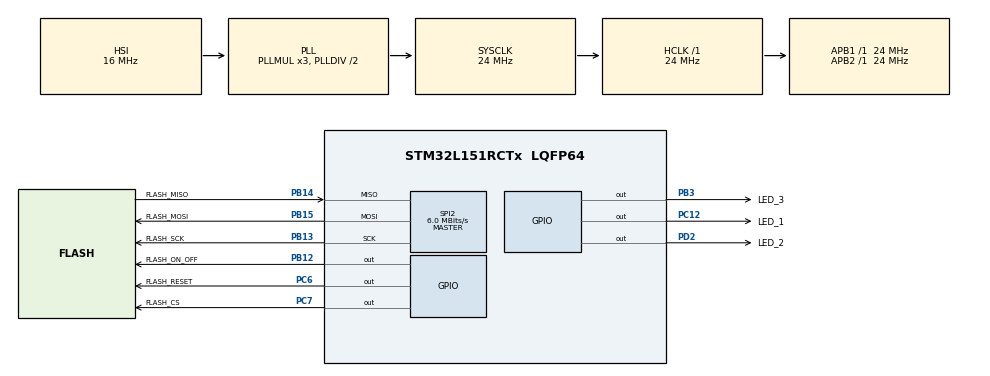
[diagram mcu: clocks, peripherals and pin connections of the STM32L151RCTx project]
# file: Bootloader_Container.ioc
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Mcu.Family=STM32L1
Mcu.Name=STM32L151RCTx
Mcu.Package=LQFP64
NVIC.PriorityGroup=NVIC_PRIORITYGROUP_4
PA13.Mode=Serial_Wire
PA13.Signal=SYS_JTMS-SWDIO
PA14.Mode=Serial_Wire
PA14.Signal=SYS_JTCK-SWCLK
PB12.GPIO_Label=FLASH_ON_OFF
PB12.GPIO_PuPd=GPIO_NOPULL
PB12.Signal=GPIO_Output
PB13.GPIO_Label=FLASH_SCK
PB13.Mode=Full_Duplex_Master
PB13.Signal=SPI2_SCK
PB14.GPIO_Label=FLASH_MISO
PB14.Mode=Full_Duplex_Master
PB14.Signal=SPI2_MISO
PB15.GPIO_Label=FLASH_MOSI
PB15.Mode=Full_Duplex_Master
PB15.Signal=SPI2_MOSI
PB3.GPIO_Label=LED_3
PB3.GPIO_PuPd=GPIO_PULLDOWN
PB3.Signal=GPIO_Output
PC12.GPIO_Label=LED_1
PC12.GPIO_PuPd=GPIO_PULLDOWN
PC12.Signal=GPIO_Output
PC6.GPIO_Label=FLASH_RESET
PC6.GPIO_PuPd=GPIO_PULLUP
PC6.GPIO_Speed=GPIO_SPEED_FREQ_MEDIUM
PC6.PinState=GPIO_PIN_SET
PC6.Signal=GPIO_Output
PC7.GPIO_Label=FLASH_CS
PC7.GPIO_PuPd=GPIO_PULLDOWN
PC7.Signal=GPIO_Output
PD2.GPIO_Label=LED_2
PD2.GPIO_PuPd=GPIO_PULLDOWN
PD2.Signal=GPIO_Output
ProjectManager.HeapSize=0x200
ProjectManager.StackSize=0x400
ProjectManager.TargetToolchain=EWARM V8.32
RCC.AHBFreq_Value=24000000
RCC.APB1Freq_Value=24000000
RCC.APB1TimFreq_Value=24000000
RCC.APB2Freq_Value=24000000
RCC.APB2TimFreq_Value=24000000
RCC.HCLKFreq_Value=24000000
RCC.HSE_VALUE=24000000
RCC.HSI_VALUE=16000000
RCC.LSE_VALUE=32768
RCC.MSI_VALUE=2097000
RCC.SYSCLKFreq_VALUE=24000000
RCC.SYSCLKSource=RCC_SYSCLKSOURCE_PLLCLK
RCC.VCOOutputFreq_Value=48000000
SPI2.BaudRatePrescaler=SPI_BAUDRATEPRESCALER_4
SPI2.CalculateBaudRate=6.0 MBits/s
SPI2.Direction=SPI_DIRECTION_2LINES
SPI2.Mode=SPI_MODE_MASTER
SPI2.VirtualType=VM_MASTER
board=custom

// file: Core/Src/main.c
/* USER CODE BEGIN Header */
/**
  ******************************************************************************
  * @file           : main.c
  * @brief          : Main program body
  ******************************************************************************
  * @attention
  *
  * Copyright (c) 2023 STMicroelectronics.
  * All rights reserved.
  *
  * This software is licensed under terms that can be found in the LICENSE file
  * in the root directory of this software component.
  * If no LICENSE file comes with this software, it is provided AS-IS.
  *
  ******************************************************************************
  */
/* USER CODE END Header */
#include "main.h"

/* USER CODE BEGIN Includes */
#include "user_exflash.h"
#include "user_inflash.h"
#include "user_bootloader.h"
/* USER CODE END Includes */

SPI_HandleTypeDef hspi2;

void SystemClock_Config(void);
static void MX_GPIO_Init(void);
static void MX_SPI2_Init(void);

/* USER CODE BEGIN 0 */
uint8_t aRead_ExFlash[7];
uint32_t Size_File=0;
uint16_t Length_Get=0;
uint32_t Gettick_Ms=0;
uint8_t Load_Firmware = 0;
uint32_t Addr_Firm_InFlash = FLASH_ADDR_MAIN;
uint32_t Addr_Firm_ExFlash = FLASH_ADDR_FIRMWARE;
/* USER CODE END 0 */

int main(void)
{

  /* MCU Configuration--------------------------------------------------------*/

  /* Reset of all peripherals, Initializes the Flash interface and the Systick. */
  HAL_Init();

  /* Configure the system clock */
  SystemClock_Config();

  /* Initialize all configured peripherals */
  MX_GPIO_Init();
  MX_SPI2_Init();
  /* USER CODE BEGIN 2 */
  HAL_GPIO_WritePin(GPIOD, GPIO_PIN_2, GPIO_PIN_SET);
  HAL_GPIO_WritePin(GPIOB, GPIO_PIN_12, GPIO_PIN_RESET);
  HAL_Delay(10);
  eFlash_S25FL_BufferRead(aRead_ExFlash, FLASH_ADDR_UPDATE, 7);
  HAL_Delay(10);

  HAL_Delay(5);
  if(aRead_ExFlash[0]==0xAA)
  {
    uint8_t TempCrc=0;
    for(uint8_t i=0; i < 6; i++)
    {
        TempCrc ^= aRead_ExFlash[i];
    }
    if(TempCrc == aRead_ExFlash[6])
    {
        Size_File = aRead_ExFlash[2]<<24 | aRead_ExFlash[3]<<16
                  | aRead_ExFlash[4]<<8  | aRead_ExFlash[5];
        Load_Firmware = 1;
    }
  }

  if(Load_Firmware == 1)
  {
    uint8_t aRead_Firm[256];
    while(Size_File>0)
    {
        if(Size_File >= 256)
        {
            Length_Get = 256;
            Size_File -= 256;
        }
        else if( Size_File > 0 && Size_File < 256)
        {
            Length_Get = Size_File;
            Size_File = 0;
            for(uint16_t i=0; i<256;i++)
            {
                aRead_Firm[i] = 0x00;
            }
        }
        else
        {
            break;
        }

        eFlash_S25FL_BufferRead(aRead_Firm, Addr_Firm_ExFlash, Length_Get);
        HAL_Delay(5);
        OnchipFlashPageErase(Addr_Firm_InFlash);
        HAL_Delay(5);
        OnchipFlashWriteData(Addr_Firm_InFlash, aRead_Firm, 256);
        HAL_Delay(5);
        Addr_Firm_ExFlash += 256;
        Addr_Firm_InFlash += 256;
    }
  }
  eFlash_S25FL_Erase_Sector(FLASH_ADDR_UPDATE);
  HAL_Delay(5);
  Bootloader_Jump_Firmware(FLASH_ADDR_MAIN);

  /* USER CODE END 2 */

  /* Infinite loop */
  while (1)
  {

    /* USER CODE BEGIN 3 */

    Gettick_Ms = HAL_GetTick();

//    if(HAL_GetTick() - Gettick_Ms > 1000)
//    {
//        Bootloader_Jump_Firmware(FLASH_ADDR_MAIN);
//    }
  }
  /* USER CODE END 3 */
}

void SystemClock_Config(void)
{
  RCC_OscInitTypeDef RCC_OscInitStruct = {0};
  RCC_ClkInitTypeDef RCC_ClkInitStruct = {0};

  /** Configure the main internal regulator output voltage
  */
  __HAL_PWR_VOLTAGESCALING_CONFIG(PWR_REGULATOR_VOLTAGE_SCALE1);

  /** Initializes the RCC Oscillators according to the specified parameters
  * in the RCC_OscInitTypeDef structure.
  */
  RCC_OscInitStruct.OscillatorType = RCC_OSCILLATORTYPE_HSI;
  RCC_OscInitStruct.HSIState = RCC_HSI_ON;
  RCC_OscInitStruct.HSICalibrationValue = RCC_HSICALIBRATION_DEFAULT;
  RCC_OscInitStruct.PLL.PLLState = RCC_PLL_ON;
  RCC_OscInitStruct.PLL.PLLSource = RCC_PLLSOURCE_HSI;
  RCC_OscInitStruct.PLL.PLLMUL = RCC_PLL_MUL3;
  RCC_OscInitStruct.PLL.PLLDIV = RCC_PLL_DIV2;
  if (HAL_RCC_OscConfig(&RCC_OscInitStruct) != HAL_OK)
  {
    Error_Handler();
  }

  /** Initializes the CPU, AHB and APB buses clocks
  */
  RCC_ClkInitStruct.ClockType = RCC_CLOCKTYPE_HCLK|RCC_CLOCKTYPE_SYSCLK
                              |RCC_CLOCKTYPE_PCLK1|RCC_CLOCKTYPE_PCLK2;
  RCC_ClkInitStruct.SYSCLKSource = RCC_SYSCLKSOURCE_PLLCLK;
  RCC_ClkInitStruct.AHBCLKDivider = RCC_SYSCLK_DIV1;
  RCC_ClkInitStruct.APB1CLKDivider = RCC_HCLK_DIV1;
  RCC_ClkInitStruct.APB2CLKDivider = RCC_HCLK_DIV1;

  if (HAL_RCC_ClockConfig(&RCC_ClkInitStruct, FLASH_LATENCY_1) != HAL_OK)
  {
    Error_Handler();
  }
}

static void MX_SPI2_Init(void)
{

  /* SPI2 parameter configuration*/
  hspi2.Instance = SPI2;
  hspi2.Init.Mode = SPI_MODE_MASTER;
  hspi2.Init.Direction = SPI_DIRECTION_2LINES;
  hspi2.Init.DataSize = SPI_DATASIZE_8BIT;
  hspi2.Init.CLKPolarity = SPI_POLARITY_LOW;
  hspi2.Init.CLKPhase = SPI_PHASE_1EDGE;
  hspi2.Init.NSS = SPI_NSS_SOFT;
  hspi2.Init.BaudRatePrescaler = SPI_BAUDRATEPRESCALER_4;
  hspi2.Init.FirstBit = SPI_FIRSTBIT_MSB;
  hspi2.Init.TIMode = SPI_TIMODE_DISABLE;
  hspi2.Init.CRCCalculation = SPI_CRCCALCULATION_DISABLE;
  hspi2.Init.CRCPolynomial = 10;
  if (HAL_SPI_Init(&hspi2) != HAL_OK)
  {
    Error_Handler();
  }

}

static void MX_GPIO_Init(void)
{
  GPIO_InitTypeDef GPIO_InitStruct = {0};

  /* GPIO Ports Clock Enable */
  __HAL_RCC_GPIOB_CLK_ENABLE();
  __HAL_RCC_GPIOC_CLK_ENABLE();
  __HAL_RCC_GPIOA_CLK_ENABLE();
  __HAL_RCC_GPIOD_CLK_ENABLE();

  /*Configure GPIO pin Output Level */
  HAL_GPIO_WritePin(GPIOB, FLASH_ON_OFF_Pin|LED_3_Pin, GPIO_PIN_RESET);

  /*Configure GPIO pin Output Level */
  HAL_GPIO_WritePin(FLASH_RESET_GPIO_Port, FLASH_RESET_Pin, GPIO_PIN_SET);

  /*Configure GPIO pin Output Level */
  HAL_GPIO_WritePin(GPIOC, FLASH_CS_Pin|LED_1_Pin, GPIO_PIN_RESET);

  /*Configure GPIO pin Output Level */
  HAL_GPIO_WritePin(LED_2_GPIO_Port, LED_2_Pin, GPIO_PIN_RESET);

  /*Configure GPIO pin : FLASH_ON_OFF_Pin */
  GPIO_InitStruct.Pin = FLASH_ON_OFF_Pin;
  GPIO_InitStruct.Mode = GPIO_MODE_OUTPUT_PP;
  GPIO_InitStruct.Pull = GPIO_NOPULL;
  GPIO_InitStruct.Speed = GPIO_SPEED_FREQ_LOW;
  HAL_GPIO_Init(FLASH_ON_OFF_GPIO_Port, &GPIO_InitStruct);

  /*Configure GPIO pin : FLASH_RESET_Pin */
  GPIO_InitStruct.Pin = FLASH_RESET_Pin;
  GPIO_InitStruct.Mode = GPIO_MODE_OUTPUT_PP;
  GPIO_InitStruct.Pull = GPIO_PULLUP;
  GPIO_InitStruct.Speed = GPIO_SPEED_FREQ_MEDIUM;
  HAL_GPIO_Init(FLASH_RESET_GPIO_Port, &GPIO_InitStruct);

  /*Configure GPIO pins : FLASH_CS_Pin LED_1_Pin */
  GPIO_InitStruct.Pin = FLASH_CS_Pin|LED_1_Pin;
  GPIO_InitStruct.Mode = GPIO_MODE_OUTPUT_PP;
  GPIO_InitStruct.Pull = GPIO_PULLDOWN;
  GPIO_InitStruct.Speed = GPIO_SPEED_FREQ_LOW;
  HAL_GPIO_Init(GPIOC, &GPIO_InitStruct);

  /*Configure GPIO pin : LED_2_Pin */
  GPIO_InitStruct.Pin = LED_2_Pin;
  GPIO_InitStruct.Mode = GPIO_MODE_OUTPUT_PP;
  GPIO_InitStruct.Pull = GPIO_PULLDOWN;
  GPIO_InitStruct.Speed = GPIO_SPEED_FREQ_LOW;
  HAL_GPIO_Init(LED_2_GPIO_Port, &GPIO_InitStruct);

  /*Configure GPIO pin : LED_3_Pin */
  GPIO_InitStruct.Pin = LED_3_Pin;
  GPIO_InitStruct.Mode = GPIO_MODE_OUTPUT_PP;
  GPIO_InitStruct.Pull = GPIO_PULLDOWN;
  GPIO_InitStruct.Speed = GPIO_SPEED_FREQ_LOW;
  HAL_GPIO_Init(LED_3_GPIO_Port, &GPIO_InitStruct);

}

void Error_Handler(void)
{
  __disable_irq();
  while (1)
  {
  }
}
